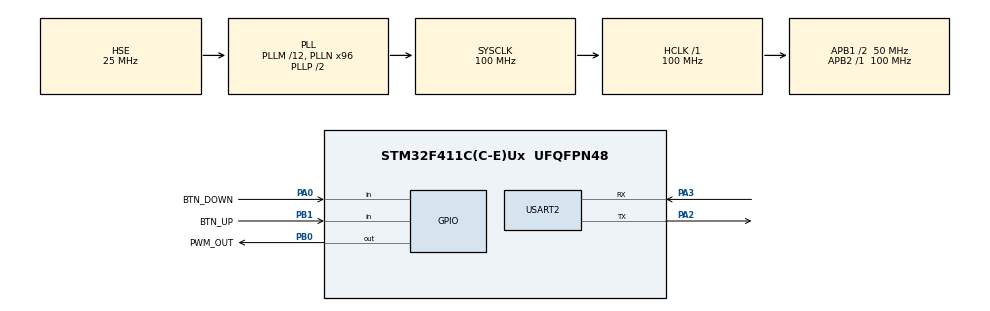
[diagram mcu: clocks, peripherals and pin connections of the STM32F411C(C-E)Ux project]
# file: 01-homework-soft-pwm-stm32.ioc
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Mcu.Family=STM32F4
Mcu.Name=STM32F411C(C-E)Ux
Mcu.Package=UFQFPN48
NVIC.PriorityGroup=NVIC_PRIORITYGROUP_4
PA0-WKUP.GPIO_Label=BTN_DOWN
PA0-WKUP.GPIO_PuPd=GPIO_PULLUP
PA0-WKUP.Signal=GPIO_Input
PA13.Mode=Serial_Wire
PA13.Signal=SYS_JTMS-SWDIO
PA14.Mode=Serial_Wire
PA14.Signal=SYS_JTCK-SWCLK
PA2.Mode=Asynchronous
PA2.Signal=USART2_TX
PA3.Mode=Asynchronous
PA3.Signal=USART2_RX
PB0.GPIO_Label=PWM_OUT
PB0.Signal=GPIO_Output
PB1.GPIO_Label=BTN_UP
PB1.GPIO_PuPd=GPIO_PULLUP
PB1.Signal=GPIO_Input
PH0\ -\ OSC_IN.Mode=HSE-External-Oscillator
PH0\ -\ OSC_IN.Signal=RCC_OSC_IN
PH1\ -\ OSC_OUT.Mode=HSE-External-Oscillator
PH1\ -\ OSC_OUT.Signal=RCC_OSC_OUT
ProjectManager.HeapSize=0x200
ProjectManager.StackSize=0x400
ProjectManager.TargetToolchain=STM32CubeIDE
RCC.48MHZClocksFreq_Value=50000000
RCC.AHBFreq_Value=100000000
RCC.APB1CLKDivider=RCC_HCLK_DIV2
RCC.APB1Freq_Value=50000000
RCC.APB1TimFreq_Value=100000000
RCC.APB2Freq_Value=100000000
RCC.APB2TimFreq_Value=100000000
RCC.CortexFreq_Value=100000000
RCC.HCLKFreq_Value=100000000
RCC.HSE_VALUE=25000000
RCC.HSI_VALUE=16000000
RCC.LSE_VALUE=32768
RCC.PLLM=12
RCC.PLLN=96
RCC.PLLSourceVirtual=RCC_PLLSOURCE_HSE
RCC.SYSCLKFreq_VALUE=100000000
RCC.SYSCLKSource=RCC_SYSCLKSOURCE_PLLCLK
RCC.VCOOutputFreq_Value=200000000
USART2.VirtualMode=VM_ASYNC
board=custom

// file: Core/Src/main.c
/* USER CODE BEGIN Header */
/**
  ******************************************************************************
  * @file           : main.c
  * @brief          : Main program body
  ******************************************************************************
  * @attention
  *
  * Copyright (c) 2026 STMicroelectronics.
  * All rights reserved.
  *
  * This software is licensed under terms that can be found in the LICENSE file
  * in the root directory of this software component.
  * If no LICENSE file comes with this software, it is provided AS-IS.
  *
  ******************************************************************************
  */
/* USER CODE END Header */
#include "main.h"

/* USER CODE BEGIN Includes */
#include <stdio.h> // snprintf

/* USER CODE END Includes */

/* USER CODE BEGIN PD */
#define PWM_PERIOD_MS 10u // one PWM period: 100 Hz, too fast for the eye to see flicker
#define PWM_DUTY_MS 3u    // LED on for 3 of every 10 ms = 30 % brightness
#define DEBOUNCE_MS 30u   // ignore the button for this long after an accepted change

/* USER CODE END PD */

UART_HandleTypeDef huart2;

void SystemClock_Config(void);
static void MX_GPIO_Init(void);
static void MX_USART2_UART_Init(void);

int main(void)
{

  /* MCU Configuration--------------------------------------------------------*/

  /* Reset of all peripherals, Initializes the Flash interface and the Systick. */
  HAL_Init();

  /* Configure the system clock */
  SystemClock_Config();

  /* Initialize all configured peripherals */
  MX_GPIO_Init();
  MX_USART2_UART_Init();
  /* USER CODE BEGIN 2 */
  uint32_t duty_ms = PWM_DUTY_MS;  // LED on time per period, 0..PWM_PERIOD_MS, changed by the buttons
  // each button keeps its own debounce memory: last accepted level and when it was accepted
  GPIO_PinState last_up_state = GPIO_PIN_SET;    // SET = released
  GPIO_PinState last_down_state = GPIO_PIN_SET;
  uint32_t last_up_change = 0;   // HAL_GetTick() of the last accepted button change
  uint32_t last_down_change = 0;
  uint32_t printed_duty = PWM_PERIOD_MS + 1;  // a duty that never happens, so the first loop prints
  /* USER CODE END 2 */

  /* Infinite loop */
  while (1)
  {

    /* USER CODE BEGIN 3 */
	  uint32_t now = HAL_GetTick();                // ms since start (SysTick)
	  uint32_t phase = (now % PWM_PERIOD_MS);      // ms into the current period: 0..9

	  // on for the first duty_ms of each period, off for the rest
	  if (phase < duty_ms) {
		  HAL_GPIO_WritePin(PWM_OUT_GPIO_Port, PWM_OUT_Pin, GPIO_PIN_SET);
	  } else {
		  HAL_GPIO_WritePin(PWM_OUT_GPIO_Port, PWM_OUT_Pin, GPIO_PIN_RESET);
	  }

	  GPIO_PinState up_state = HAL_GPIO_ReadPin(BTN_UP_GPIO_Port, BTN_UP_Pin);       // PB1, RESET = pressed (pull-up)
	  GPIO_PinState down_state = HAL_GPIO_ReadPin(BTN_DOWN_GPIO_Port, BTN_DOWN_Pin); // PA0 (onboard KEY), same

	  // accept a change only DEBOUNCE_MS after the previous one: the bounces in between are ignored
	  if (up_state != last_up_state && now - last_up_change >= DEBOUNCE_MS) {
		  // a press is the change SET -> RESET, not the pressed level itself
		  if (up_state == GPIO_PIN_RESET && duty_ms < PWM_PERIOD_MS) {
			  duty_ms++;
		  }
		  last_up_state = up_state;
		  last_up_change = now;
	  }

	  // BTN_DOWN: the same debounce, lowers the duty
	  if (down_state != last_down_state && now - last_down_change >= DEBOUNCE_MS) {
		  // > 0 check: duty_ms is unsigned, 0 - 1 would wrap to 4294967295 (LED fully on)
		  if (down_state == GPIO_PIN_RESET && duty_ms > 0) {
			  duty_ms--;
		  }
		  last_down_state = down_state;
		  last_down_change = now;
	  }

	  // print only when the duty changed: a print takes ~2 ms, the PWM stalls meanwhile
	  if (duty_ms != printed_duty) {
		  char buf[32];
		  int len = snprintf(buf, sizeof(buf), "duty %lu ms (%lu %%)\r\n",
				  duty_ms, duty_ms * 100 / PWM_PERIOD_MS);  // %lu: uint32_t is unsigned long on ARM, %% prints %
		  HAL_UART_Transmit(&huart2, (uint8_t *)buf, len, 100);  // blocks until sent, 100 ms timeout
		  printed_duty = duty_ms;
	  }
  }
  /* USER CODE END 3 */
}

void SystemClock_Config(void)
{
  RCC_OscInitTypeDef RCC_OscInitStruct = {0};
  RCC_ClkInitTypeDef RCC_ClkInitStruct = {0};

  /** Configure the main internal regulator output voltage
  */
  __HAL_RCC_PWR_CLK_ENABLE();
  __HAL_PWR_VOLTAGESCALING_CONFIG(PWR_REGULATOR_VOLTAGE_SCALE1);

  /** Initializes the RCC Oscillators according to the specified parameters
  * in the RCC_OscInitTypeDef structure.
  */
  RCC_OscInitStruct.OscillatorType = RCC_OSCILLATORTYPE_HSE;
  RCC_OscInitStruct.HSEState = RCC_HSE_ON;
  RCC_OscInitStruct.PLL.PLLState = RCC_PLL_ON;
  RCC_OscInitStruct.PLL.PLLSource = RCC_PLLSOURCE_HSE;
  RCC_OscInitStruct.PLL.PLLM = 12;
  RCC_OscInitStruct.PLL.PLLN = 96;
  RCC_OscInitStruct.PLL.PLLP = RCC_PLLP_DIV2;
  RCC_OscInitStruct.PLL.PLLQ = 4;
  if (HAL_RCC_OscConfig(&RCC_OscInitStruct) != HAL_OK)
  {
    Error_Handler();
  }

  /** Initializes the CPU, AHB and APB buses clocks
  */
  RCC_ClkInitStruct.ClockType = RCC_CLOCKTYPE_HCLK|RCC_CLOCKTYPE_SYSCLK
                              |RCC_CLOCKTYPE_PCLK1|RCC_CLOCKTYPE_PCLK2;
  RCC_ClkInitStruct.SYSCLKSource = RCC_SYSCLKSOURCE_PLLCLK;
  RCC_ClkInitStruct.AHBCLKDivider = RCC_SYSCLK_DIV1;
  RCC_ClkInitStruct.APB1CLKDivider = RCC_HCLK_DIV2;
  RCC_ClkInitStruct.APB2CLKDivider = RCC_HCLK_DIV1;

  if (HAL_RCC_ClockConfig(&RCC_ClkInitStruct, FLASH_LATENCY_3) != HAL_OK)
  {
    Error_Handler();
  }
}

static void MX_USART2_UART_Init(void)
{

  huart2.Instance = USART2;
  huart2.Init.BaudRate = 115200;
  huart2.Init.WordLength = UART_WORDLENGTH_8B;
  huart2.Init.StopBits = UART_STOPBITS_1;
  huart2.Init.Parity = UART_PARITY_NONE;
  huart2.Init.Mode = UART_MODE_TX_RX;
  huart2.Init.HwFlowCtl = UART_HWCONTROL_NONE;
  huart2.Init.OverSampling = UART_OVERSAMPLING_16;
  if (HAL_UART_Init(&huart2) != HAL_OK)
  {
    Error_Handler();
  }

}

static void MX_GPIO_Init(void)
{
  GPIO_InitTypeDef GPIO_InitStruct = {0};

  /* GPIO Ports Clock Enable */
  __HAL_RCC_GPIOH_CLK_ENABLE();
  __HAL_RCC_GPIOA_CLK_ENABLE();
  __HAL_RCC_GPIOB_CLK_ENABLE();

  /*Configure GPIO pin Output Level */
  HAL_GPIO_WritePin(PWM_OUT_GPIO_Port, PWM_OUT_Pin, GPIO_PIN_RESET);

  /*Configure GPIO pin : BTN_DOWN_Pin */
  GPIO_InitStruct.Pin = BTN_DOWN_Pin;
  GPIO_InitStruct.Mode = GPIO_MODE_INPUT;
  GPIO_InitStruct.Pull = GPIO_PULLUP;
  HAL_GPIO_Init(BTN_DOWN_GPIO_Port, &GPIO_InitStruct);

  /*Configure GPIO pin : PWM_OUT_Pin */
  GPIO_InitStruct.Pin = PWM_OUT_Pin;
  GPIO_InitStruct.Mode = GPIO_MODE_OUTPUT_PP;
  GPIO_InitStruct.Pull = GPIO_NOPULL;
  GPIO_InitStruct.Speed = GPIO_SPEED_FREQ_LOW;
  HAL_GPIO_Init(PWM_OUT_GPIO_Port, &GPIO_InitStruct);

  /*Configure GPIO pin : BTN_UP_Pin */
  GPIO_InitStruct.Pin = BTN_UP_Pin;
  GPIO_InitStruct.Mode = GPIO_MODE_INPUT;
  GPIO_InitStruct.Pull = GPIO_PULLUP;
  HAL_GPIO_Init(BTN_UP_GPIO_Port, &GPIO_InitStruct);

}

void Error_Handler(void)
{
  __disable_irq();
  while (1)
  {
  }
}
